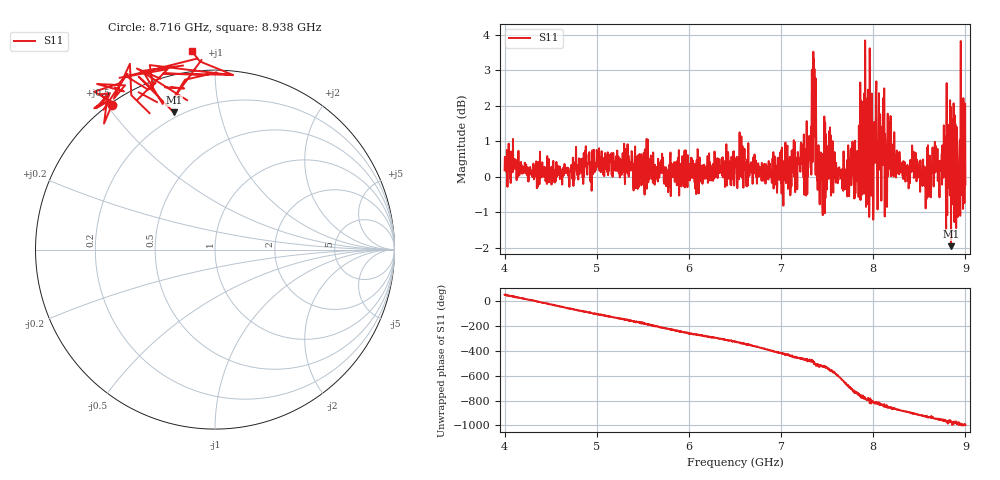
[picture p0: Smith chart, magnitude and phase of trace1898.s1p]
! Created with skrf 1.8.0 (http://scikit-rf.org).
# Hz S RI R 50.0
!freq ReS11 ImS11
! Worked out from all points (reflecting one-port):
!   1601 points, 4 GHz to 9 GHz, reference 50 ohm
!   lowest |S11| = -2.0 dB at 8.844 GHz (marker M1), VSWR 8.94, Z = 8.63 + j36.5 ohm
!   phase of S11 starts at 51 deg and turns -1048 deg over the sweep
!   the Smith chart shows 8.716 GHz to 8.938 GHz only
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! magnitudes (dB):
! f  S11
! 4 GHz  0.2
! 4.625 GHz  -0.2
! 5.25 GHz  0.0
! 5.875 GHz  0.1
! 6.5 GHz  0.3
! 7.125 GHz  0.2
! 7.297 GHz  0.6
! 7.356 GHz  3.3
! 7.4 GHz  0.6
! 7.438 GHz  0.2
! 7.509 GHz  0.2
! 7.678 GHz  0.7
! 7.75 GHz  0.0
! 7.875 GHz  -0.5
! 7.962 GHz  3.6
! 7.981 GHz  -0.5
! 8.038 GHz  0.8
! 8.066 GHz  0.5
! 8.097 GHz  0.4
! 8.375 GHz  0.1
! 8.434 GHz  0.2
! 8.581 GHz  -0.6
! 8.666 GHz  0.8
! 8.844 GHz  -2.0
! 8.884 GHz  1.7
! 8.919 GHz  -0.3
! 8.959 GHz  2.0
! 9 GHz  -0.2
